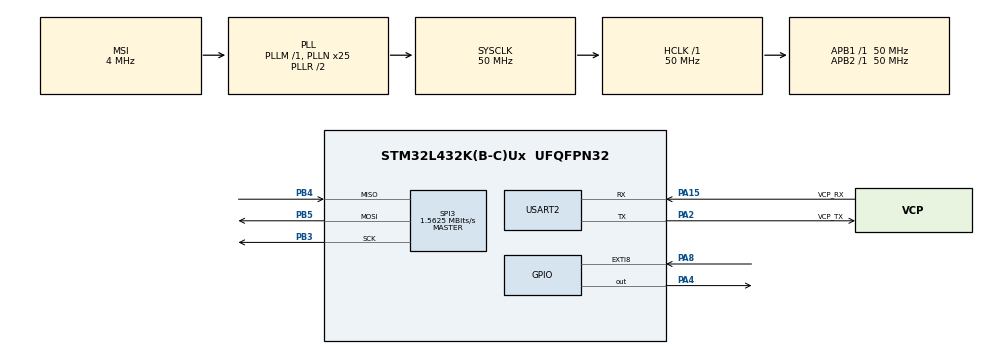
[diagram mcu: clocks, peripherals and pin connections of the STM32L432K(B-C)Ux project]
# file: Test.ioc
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Mcu.Family=STM32L4
Mcu.Name=STM32L432K(B-C)Ux
Mcu.Package=UFQFPN32
NVIC.EXTI9_5_IRQn=true\:2\:0\:true\:false\:true\:true\:true\:true
NVIC.PriorityGroup=NVIC_PRIORITYGROUP_4
PA0.GPIO_Label=MCO [High speed clock in]
PA0.Mode=HSE-External-Clock-Source-for-LittleOrca
PA0.Signal=RCC_CK_IN
PA13\ (JTMS-SWDIO).GPIO_Label=SWDIO
PA13\ (JTMS-SWDIO).Mode=Serial_Wire
PA13\ (JTMS-SWDIO).Signal=SYS_JTMS-SWDIO
PA14\ (JTCK-SWCLK).GPIO_Label=SWCLK
PA14\ (JTCK-SWCLK).Mode=Serial_Wire
PA14\ (JTCK-SWCLK).Signal=SYS_JTCK-SWCLK
PA15\ (JTDI).GPIO_Label=VCP_RX
PA15\ (JTDI).Mode=Asynchronous
PA15\ (JTDI).Signal=USART2_RX
PA2.GPIO_Label=VCP_TX
PA2.Mode=Asynchronous
PA2.Signal=USART2_TX
PA4.PinState=GPIO_PIN_SET
PA4.Signal=GPIO_Output
PA8.GPIO_ModeDefaultEXTI=GPIO_MODE_IT_FALLING
PA8.Signal=GPXTI8
PB3\ (JTDO-TRACESWO).Mode=Full_Duplex_Master
PB3\ (JTDO-TRACESWO).Signal=SPI3_SCK
PB4\ (NJTRST).Mode=Full_Duplex_Master
PB4\ (NJTRST).Signal=SPI3_MISO
PB5.Mode=Full_Duplex_Master
PB5.Signal=SPI3_MOSI
PC14-OSC32_IN\ (PC14).Mode=LSE-External-Oscillator
PC14-OSC32_IN\ (PC14).Signal=RCC_OSC32_IN
PC15-OSC32_OUT\ (PC15).Mode=LSE-External-Oscillator
PC15-OSC32_OUT\ (PC15).Signal=RCC_OSC32_OUT
ProjectManager.HeapSize=0x200
ProjectManager.StackSize=0x400
ProjectManager.TargetToolchain=STM32CubeIDE
RCC.AHBFreq_Value=50000000
RCC.APB1Freq_Value=50000000
RCC.APB1TimFreq_Value=50000000
RCC.APB2Freq_Value=50000000
RCC.APB2TimFreq_Value=50000000
RCC.CortexFreq_Value=50000000
RCC.HCLKFreq_Value=50000000
RCC.HSE_VALUE=8000000
RCC.HSI16_VALUE=16000000
RCC.HSI48_VALUE=48000000
RCC.HSI_VALUE=16000000
RCC.MSI_VALUE=4000000
RCC.PLLMUL=RCC_PLLMUL_4
RCC.PLLN=25
RCC.SYSCLKFreq_VALUE=50000000
RCC.SYSCLKSource=RCC_SYSCLKSOURCE_PLLCLK
RCC.VCOOutputFreq_Value=100000000
SPI3.BaudRatePrescaler=SPI_BAUDRATEPRESCALER_32
SPI3.CLKPhase=SPI_PHASE_2EDGE
SPI3.CalculateBaudRate=1.5625 MBits/s
SPI3.DataSize=SPI_DATASIZE_8BIT
SPI3.Direction=SPI_DIRECTION_2LINES
SPI3.Mode=SPI_MODE_MASTER
SPI3.VirtualType=VM_MASTER
USART2.VirtualMode-Asynchronous=VM_ASYNC
board=NUCLEO-L432KC

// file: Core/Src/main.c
/* USER CODE BEGIN Header */
/**
  ******************************************************************************
  * @file           : main.c
  * @brief          : Main program body
  ******************************************************************************
  * @attention
  *
  * Copyright (c) 2024 STMicroelectronics.
  * All rights reserved.
  *
  * This software is licensed under terms that can be found in the LICENSE file
  * in the root directory of this software component.
  * If no LICENSE file comes with this software, it is provided AS-IS.
  *
  ******************************************************************************
  */
/* USER CODE END Header */
#include "main.h"

/* USER CODE BEGIN Includes */
#include <string.h>
#include <stdio.h>
#include <math.h>
/* USER CODE END Includes */

SPI_HandleTypeDef hspi3;

UART_HandleTypeDef huart2;

/* USER CODE BEGIN PV */
const uint8_t CRaddress = 0x04; 			//Control register address
const uint16_t CRconfig = 0x2AD; 			//Control register configuration
const uint8_t Read = 0x0C;  				//Control register read
const uint8_t Reset = 0x0F;  				//Reset address
const uint8_t DAC_update_address = 0x03;	//DAC Write_Update address
const uint8_t DAC_Read = 0xB;				//DAC read address
uint8_t rxData[3];
/* USER CODE END PV */

void SystemClock_Config(void);
static void MX_GPIO_Init(void);
static void MX_USART2_UART_Init(void);
static void MX_SPI3_Init(void);

/* USER CODE BEGIN 0 */
void AD5761_Read(uint8_t reg, uint16_t value) {
	//HAL_StatusTypeDef ret,re;
    uint8_t nop[3]= {(uint8_t)0x0,(uint8_t)0x0,(uint8_t)0x0};

	uint8_t txData[3];
    txData[0] = reg;
    txData[1] = (value & 0xFF00) >> 8;
    txData[2] = (value & 0x00FF) >> 0;

    HAL_GPIO_WritePin(GPIOA, GPIO_PIN_4, GPIO_PIN_RESET);				 // CS Low
    HAL_SPI_Transmit(&hspi3, txData, 3, HAL_MAX_DELAY);  				 // Transmit data
    HAL_GPIO_WritePin(GPIOA, GPIO_PIN_4, GPIO_PIN_SET);   					// CS High

    HAL_Delay(10);
    HAL_GPIO_WritePin(GPIOA, GPIO_PIN_4, GPIO_PIN_RESET); 				// CS Low
    HAL_SPI_TransmitReceive(&hspi3, nop, rxData, 3,HAL_MAX_DELAY);   	// Transmit_Receive data
    HAL_GPIO_WritePin(GPIOA, GPIO_PIN_4, GPIO_PIN_SET);					 // CS High

//    char uart_buf[30];
//    int uart_len;
//    uart_len = sprintf(uart_buf, "Status: 0x%02x 0x%02x 0x%02x \r\n", rxData[0], rxData[1], rxData[2]);
//    HAL_UART_Transmit(&huart2, (uint8_t*)uart_buf, uart_len,HAL_MAX_DELAY);
//    uint32_t controlRegisterData = (rxData[0] << 16) | (rxData[1] << 8) | rxData[2];

}

void AD5761_Write(uint8_t reg, uint16_t value) {
    uint8_t txData[3];
    txData[0] = reg;
    txData[1] = (value & 0xFF00) >> 8;
    txData[2] = (value & 0x00FF) >> 0;

    HAL_GPIO_WritePin(GPIOA, GPIO_PIN_4, GPIO_PIN_RESET); // CS Low
    HAL_SPI_Transmit(&hspi3, txData, 3, HAL_MAX_DELAY);   // Transmit data
    HAL_GPIO_WritePin(GPIOA, GPIO_PIN_4, GPIO_PIN_SET);   // CS High

}

void AD5761_Init(void) {

	AD5761_Write(0x0,0x0);
	AD5761_Write(Reset,(uint16_t)0x0);		// Software Data Reset

    AD5761_Write(CRaddress, CRconfig);		// Set to Bipolar mode, +/- 3V range
}
void HandleAlertCondition(void)
{
    // Read the control register to determine the cause of the ALERT
    AD5761_Read(Read, (uint16_t)0x000);

    // Additional handling based on the specific condition
    // ...

    // Clear the ALERT condition by writing to the control register
    //AD5761_Write(CRaddress, CRconfig);
}
void HAL_GPIO_EXTI_Callback(uint16_t GPIO_Pin){
	 if (GPIO_Pin == GPIO_PIN_8)
	    {
	        // Handle the ALERT condition
	        HandleAlertCondition();
	    }
}
/* USER CODE END 0 */

int main(void)
{

  /* MCU Configuration--------------------------------------------------------*/

  /* Reset of all peripherals, Initializes the Flash interface and the Systick. */
  HAL_Init();

  /* Configure the system clock */
  SystemClock_Config();

  /* Initialize all configured peripherals */
  MX_GPIO_Init();
  MX_USART2_UART_Init();
  MX_SPI3_Init();
  /* USER CODE BEGIN 2 */
  AD5761_Init();    						//AD5761 Initiallize (Software Data Reset and Control register write)
  AD5761_Read(Read,(uint16_t)0x0);
  /* USER CODE END 2 */

  /* Infinite loop */
  while (1)
  {

  }
}

void SystemClock_Config(void)
{
  RCC_OscInitTypeDef RCC_OscInitStruct = {0};
  RCC_ClkInitTypeDef RCC_ClkInitStruct = {0};

  /** Configure the main internal regulator output voltage
  */
  if (HAL_PWREx_ControlVoltageScaling(PWR_REGULATOR_VOLTAGE_SCALE1) != HAL_OK)
  {
    Error_Handler();
  }

  /** Configure LSE Drive Capability
  */
  HAL_PWR_EnableBkUpAccess();
  __HAL_RCC_LSEDRIVE_CONFIG(RCC_LSEDRIVE_LOW);

  /** Initializes the RCC Oscillators according to the specified parameters
  * in the RCC_OscInitTypeDef structure.
  */
  RCC_OscInitStruct.OscillatorType = RCC_OSCILLATORTYPE_LSE|RCC_OSCILLATORTYPE_MSI;
  RCC_OscInitStruct.LSEState = RCC_LSE_ON;
  RCC_OscInitStruct.MSIState = RCC_MSI_ON;
  RCC_OscInitStruct.MSICalibrationValue = 0;
  RCC_OscInitStruct.MSIClockRange = RCC_MSIRANGE_6;
  RCC_OscInitStruct.PLL.PLLState = RCC_PLL_ON;
  RCC_OscInitStruct.PLL.PLLSource = RCC_PLLSOURCE_MSI;
  RCC_OscInitStruct.PLL.PLLM = 1;
  RCC_OscInitStruct.PLL.PLLN = 25;
  RCC_OscInitStruct.PLL.PLLP = RCC_PLLP_DIV7;
  RCC_OscInitStruct.PLL.PLLQ = RCC_PLLQ_DIV2;
  RCC_OscInitStruct.PLL.PLLR = RCC_PLLR_DIV2;
  if (HAL_RCC_OscConfig(&RCC_OscInitStruct) != HAL_OK)
  {
    Error_Handler();
  }

  /** Initializes the CPU, AHB and APB buses clocks
  */
  RCC_ClkInitStruct.ClockType = RCC_CLOCKTYPE_HCLK|RCC_CLOCKTYPE_SYSCLK
                              |RCC_CLOCKTYPE_PCLK1|RCC_CLOCKTYPE_PCLK2;
  RCC_ClkInitStruct.SYSCLKSource = RCC_SYSCLKSOURCE_PLLCLK;
  RCC_ClkInitStruct.AHBCLKDivider = RCC_SYSCLK_DIV1;
  RCC_ClkInitStruct.APB1CLKDivider = RCC_HCLK_DIV1;
  RCC_ClkInitStruct.APB2CLKDivider = RCC_HCLK_DIV1;

  if (HAL_RCC_ClockConfig(&RCC_ClkInitStruct, FLASH_LATENCY_3) != HAL_OK)
  {
    Error_Handler();
  }

  /** Enable MSI Auto calibration
  */
  HAL_RCCEx_EnableMSIPLLMode();
}

static void MX_SPI3_Init(void)
{

  /* SPI3 parameter configuration*/
  hspi3.Instance = SPI3;
  hspi3.Init.Mode = SPI_MODE_MASTER;
  hspi3.Init.Direction = SPI_DIRECTION_2LINES;
  hspi3.Init.DataSize = SPI_DATASIZE_8BIT;
  hspi3.Init.CLKPolarity = SPI_POLARITY_LOW;
  hspi3.Init.CLKPhase = SPI_PHASE_2EDGE;
  hspi3.Init.NSS = SPI_NSS_SOFT;
  hspi3.Init.BaudRatePrescaler = SPI_BAUDRATEPRESCALER_32;
  hspi3.Init.FirstBit = SPI_FIRSTBIT_MSB;
  hspi3.Init.TIMode = SPI_TIMODE_DISABLE;
  hspi3.Init.CRCCalculation = SPI_CRCCALCULATION_DISABLE;
  hspi3.Init.CRCPolynomial = 7;
  hspi3.Init.CRCLength = SPI_CRC_LENGTH_DATASIZE;
  hspi3.Init.NSSPMode = SPI_NSS_PULSE_DISABLE;
  if (HAL_SPI_Init(&hspi3) != HAL_OK)
  {
    Error_Handler();
  }

}

static void MX_USART2_UART_Init(void)
{

  huart2.Instance = USART2;
  huart2.Init.BaudRate = 115200;
  huart2.Init.WordLength = UART_WORDLENGTH_8B;
  huart2.Init.StopBits = UART_STOPBITS_1;
  huart2.Init.Parity = UART_PARITY_NONE;
  huart2.Init.Mode = UART_MODE_TX_RX;
  huart2.Init.HwFlowCtl = UART_HWCONTROL_NONE;
  huart2.Init.OverSampling = UART_OVERSAMPLING_16;
  huart2.Init.OneBitSampling = UART_ONE_BIT_SAMPLE_DISABLE;
  huart2.AdvancedInit.AdvFeatureInit = UART_ADVFEATURE_NO_INIT;
  if (HAL_UART_Init(&huart2) != HAL_OK)
  {
    Error_Handler();
  }

}

static void MX_GPIO_Init(void)
{
  GPIO_InitTypeDef GPIO_InitStruct = {0};

  /* GPIO Ports Clock Enable */
  __HAL_RCC_GPIOC_CLK_ENABLE();
  __HAL_RCC_GPIOA_CLK_ENABLE();
  __HAL_RCC_GPIOB_CLK_ENABLE();

  /*Configure GPIO pin Output Level */
  HAL_GPIO_WritePin(GPIOA, GPIO_PIN_4, GPIO_PIN_SET);

  /*Configure GPIO pin : PA4 */
  GPIO_InitStruct.Pin = GPIO_PIN_4;
  GPIO_InitStruct.Mode = GPIO_MODE_OUTPUT_PP;
  GPIO_InitStruct.Pull = GPIO_NOPULL;
  GPIO_InitStruct.Speed = GPIO_SPEED_FREQ_LOW;
  HAL_GPIO_Init(GPIOA, &GPIO_InitStruct);

  /*Configure GPIO pin : PA8 */
  GPIO_InitStruct.Pin = GPIO_PIN_8;
  GPIO_InitStruct.Mode = GPIO_MODE_IT_FALLING;
  GPIO_InitStruct.Pull = GPIO_NOPULL;
  HAL_GPIO_Init(GPIOA, &GPIO_InitStruct);

  /* EXTI interrupt init*/
  HAL_NVIC_SetPriority(EXTI9_5_IRQn, 2, 0);
  HAL_NVIC_EnableIRQ(EXTI9_5_IRQn);

}

void Error_Handler(void)
{
  __disable_irq();
  while (1)
  {
  }
}
